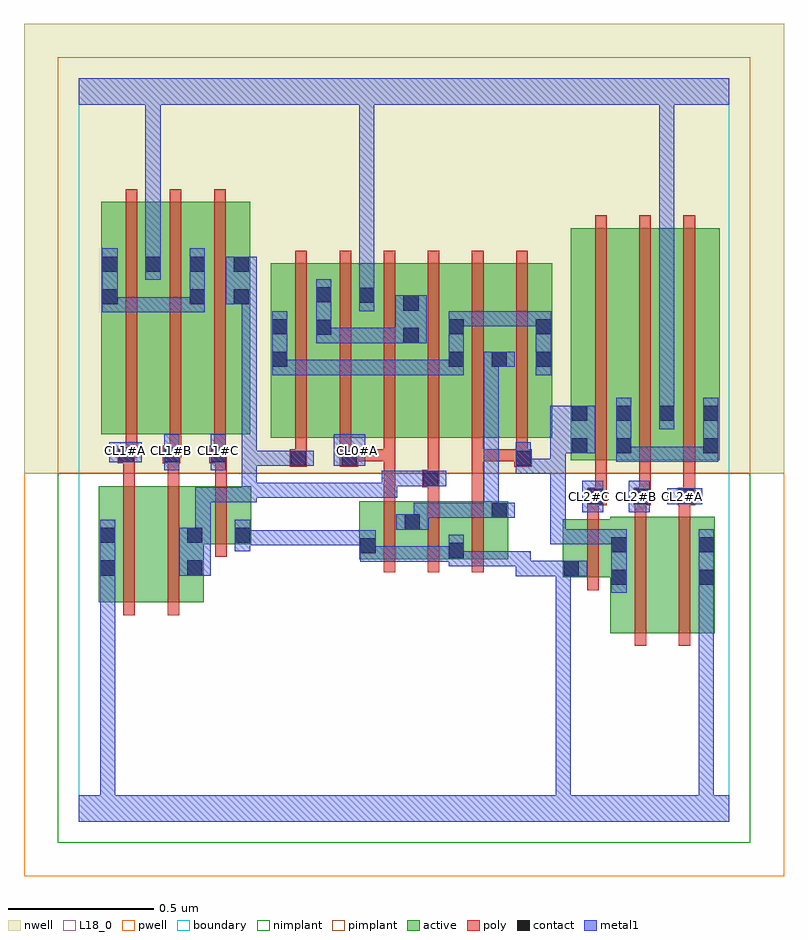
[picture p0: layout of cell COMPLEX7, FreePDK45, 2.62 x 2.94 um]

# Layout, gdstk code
import gdstk
lib = gdstk.Library(unit=1e-6, precision=1e-09)
def R(c, l, rs):  # rectangles x0, y0, x1, y1
    for r in rs: c.add(gdstk.rectangle(r[:2], r[2:], *l))
def A(c, l, x, y, w, h, nx, ny, dx, dy):  # array of equal rectangles
    R(c, l, [(x+i*dx, y+j*dy, x+i*dx+w, y+j*dy+h) for i in range(nx) for j in range(ny)])
active = (1, 0)
pwell = (2, 0)
nwell = (3, 0)
nimplant = (4, 0)
pimplant = (5, 0)
poly = (9, 0)
contact = (10, 0)
metal1 = (11, 0)
L18_0 = (18, 0)
boundary = (235, 0)

complex7 = lib.new_cell('COMPLEX7')
R(complex7, active, [(1.83,0.65,2.01,1.05), (2.01,0.65,2.19,1.05), (0.07,0.756,0.25,1.156), (0.07,0.756,0.13,1.156), (0.25,0.756,0.43,1.156), (0.37,0.756,0.43,1.156), (2.13,0.756,2.19,1.05), (1.83,0.812,1.89,1.028), (1.666,0.842,1.89,1.042), (1.666,0.842,1.726,1.042), (0.966,0.904,1.026,1.104), (0.966,0.904,1.178,1.104), (1.118,0.904,1.33,1.104), (1.27,0.904,1.478,1.104), (1.27,0.904,1.33,1.028), (0.37,0.956,0.594,1.156), (0.534,0.956,0.594,1.156), (1.118,0.956,1.178,1.062), (1.418,0.956,1.478,1.104), (1.694,1.244,1.754,2.044), (1.694,1.244,1.906,2.044), (1.846,1.244,2.054,2.044), (1.994,1.244,2.206,2.044), (2.146,1.244,2.206,2.044), (1.846,1.256,1.906,2.044), (0.662,1.322,0.722,1.844), (0.662,1.322,0.874,1.922), (0.814,1.322,1.022,1.922), (0.962,1.322,1.174,1.922), (1.114,1.322,1.33,1.922), (1.27,1.322,1.478,1.922), (1.418,1.322,1.63,1.922), (1.57,1.322,1.63,1.844), (0.078,1.334,0.138,2.134), (0.078,1.334,0.286,2.134), (0.226,1.334,0.438,2.134), (0.378,1.334,0.59,2.134), (0.53,1.334,0.59,2.134), (1.994,1.366,2.054,2.044), (1.27,1.562,1.33,1.844), (1.418,1.562,1.478,1.844), (1.114,1.644,1.174,1.844), (0.814,1.672,0.874,1.844), (0.226,1.686,0.286,2.134), (0.378,1.686,0.438,2.134), (0.962,1.782,1.022,1.844)])
R(complex7, pwell, [(-0.188,-0.188,2.428,1.2)])
R(complex7, nwell, [(-0.188,1.2,2.428,2.748)])
R(complex7, nimplant, [(-0.072,-0.072,2.312,1.2)])
R(complex7, pimplant, [(-0.072,1.2,2.312,2.632)])
A(complex7, poly, 1.05, 0.86, 0.04, 0.288, 3, 1, 0.152, 0)
A(complex7, poly, 1.778, 1.11, 0.04, 0.13, 3, 1, 0.152, 0)
A(complex7, poly, 1.778, 1.2, 0.04, 0.888, 3, 1, 0.152, 0)
A(complex7, poly, 0.746, 1.242, 0.04, 0.076, 3, 1, 0.152, 0)
A(complex7, poly, 0.162, 1.254, 0.04, 0.076, 3, 1, 0.152, 0)
A(complex7, poly, 0.746, 1.278, 0.04, 0.688, 6, 1, 0.152, 0)
A(complex7, poly, 0.162, 1.29, 0.04, 0.888, 3, 1, 0.152, 0)
R(complex7, poly, [(1.914,0.606,1.954,1.094), (2.066,0.606,2.106,1.094), (0.154,0.712,0.194,1.2), (0.306,0.712,0.346,1.2), (1.75,0.798,1.79,1.086), (0.47,0.912,0.51,1.2), (1.75,1.046,1.79,1.13), (1.914,1.054,1.954,1.13), (2.066,1.054,2.106,1.13), (1.75,1.09,1.79,1.13), (1.75,1.09,1.79,1.13), (1.75,1.09,1.818,1.15), (1.91,1.09,1.97,1.15), (1.914,1.09,1.954,1.13), (1.914,1.09,1.954,1.13), (2.062,1.09,2.122,1.15), (2.066,1.09,2.106,1.13), (2.066,1.09,2.106,1.13), (1.05,1.108,1.09,1.282), (1.202,1.108,1.242,1.192), (1.354,1.108,1.394,1.282), (1.182,1.152,1.242,1.212), (0.154,1.16,0.194,1.274), (0.306,1.16,0.346,1.274), (0.47,1.16,0.51,1.274), (1.202,1.172,1.242,1.212), (1.202,1.172,1.242,1.212), (1.202,1.172,1.242,1.318), (0.726,1.222,0.786,1.282), (0.898,1.222,0.962,1.282), (1.5,1.222,1.56,1.282), (0.134,1.234,0.194,1.294), (0.29,1.234,0.35,1.294), (0.45,1.234,0.51,1.294), (0.47,1.234,0.51,1.274), (0.47,1.234,0.51,1.274), (0.922,1.242,1.09,1.282), (1.05,1.242,1.09,1.282), (1.05,1.242,1.09,1.282), (1.05,1.242,1.09,1.282), (1.05,1.242,1.09,1.282), (1.05,1.242,1.09,1.282), (1.354,1.242,1.394,1.282), (1.354,1.242,1.394,1.282), (1.354,1.242,1.394,1.282), (1.354,1.242,1.394,1.282), (1.354,1.242,1.394,1.282), (1.354,1.242,1.394,1.318), (1.354,1.242,1.54,1.282), (1.506,1.242,1.546,1.318), (0.154,1.254,0.194,1.294), (0.154,1.254,0.202,1.294), (0.31,1.254,0.35,1.294), (0.31,1.254,0.354,1.294)])
A(complex7, contact, 0.23, 1.894, 0.052, 0.052, 3, 1, 0.152, 0)
R(complex7, contact, [(1.834,0.816,1.886,0.868), (2.134,0.816,2.186,0.868), (1.67,0.846,1.722,0.898), (0.074,0.848,0.126,0.9), (0.374,0.848,0.426,0.9), (1.274,0.908,1.326,0.96), (0.97,0.924,1.022,0.976), (1.834,0.928,1.886,0.98), (2.134,0.928,2.186,0.98), (0.074,0.96,0.126,1.012), (0.374,0.96,0.426,1.012), (0.538,0.96,0.59,1.012), (1.122,1.006,1.174,1.058), (1.422,1.046,1.474,1.098), (1.754,1.094,1.806,1.146), (1.914,1.094,1.966,1.146), (2.066,1.094,2.118,1.146), (1.186,1.156,1.238,1.208), (0.73,1.226,0.782,1.278), (0.906,1.226,0.958,1.278), (1.504,1.226,1.556,1.278), (0.138,1.238,0.19,1.29), (0.294,1.238,0.346,1.29), (0.454,1.238,0.506,1.29), (1.698,1.268,1.75,1.32), (1.85,1.268,1.902,1.32), (2.15,1.268,2.202,1.32), (1.698,1.38,1.75,1.432), (1.85,1.38,1.902,1.432), (1.998,1.38,2.05,1.432), (2.15,1.38,2.202,1.432), (0.666,1.566,0.718,1.618), (1.274,1.566,1.326,1.618), (1.422,1.566,1.474,1.618), (1.574,1.566,1.626,1.618), (1.118,1.648,1.17,1.7), (0.818,1.676,0.87,1.728), (0.666,1.678,0.718,1.73), (1.274,1.678,1.326,1.73), (1.574,1.678,1.626,1.73), (1.118,1.76,1.17,1.812), (0.082,1.782,0.134,1.834), (0.382,1.782,0.434,1.834), (0.534,1.782,0.586,1.834), (0.966,1.786,1.018,1.838), (0.818,1.788,0.87,1.84), (0.082,1.894,0.134,1.946)])
R(complex7, metal1, [(0,0,2.24,0.092), (0.074,0.04,0.126,0.092), (0.074,0.04,0.126,0.092), (0.074,0.04,0.126,0.092), (0.074,0.04,0.126,0.092), (0.074,0.04,0.126,0.092), (0.074,0.04,0.126,0.092), (0.074,0.04,0.126,0.092), (0.074,0.04,0.126,0.092), (0.074,0.04,0.126,0.092), (0.074,0.04,0.126,0.092), (0.074,0.04,0.126,0.872), (1.642,0.04,1.694,0.092), (1.642,0.04,1.694,0.092), (1.642,0.04,1.694,0.092), (1.642,0.04,1.694,0.092), (1.642,0.04,1.694,0.092), (1.642,0.04,1.694,0.092), (1.642,0.04,1.694,0.092), (1.642,0.04,1.694,0.092), (1.642,0.04,1.694,0.092), (1.642,0.04,1.694,0.092), (1.642,0.04,1.694,0.898), (2.134,0.04,2.186,0.092), (2.134,0.04,2.186,0.092), (2.134,0.04,2.186,0.092), (2.134,0.04,2.186,0.092), (2.134,0.04,2.186,0.092), (2.134,0.04,2.186,0.092), (2.134,0.04,2.186,0.092), (2.134,0.04,2.186,0.092), (2.134,0.04,2.186,0.092), (2.134,0.04,2.186,0.092), (2.134,0.04,2.186,0.092), (2.134,0.04,2.186,0.092), (2.134,0.04,2.186,0.84), (1.834,0.788,1.886,1.008), (2.134,0.788,2.186,1.008), (0.074,0.82,0.126,0.872), (0.074,0.82,0.126,0.872), (0.074,0.82,0.126,1.04), (1.504,0.846,1.556,0.898), (1.504,0.846,1.556,0.898), (1.504,0.846,1.694,0.898), (1.504,0.846,1.556,0.932), (1.642,0.846,1.694,0.898), (1.642,0.846,1.694,0.898), (1.642,0.846,1.694,0.898), (1.642,0.846,1.694,0.898), (1.642,0.846,1.694,0.898), (1.642,0.846,1.694,0.898), (1.642,0.846,1.75,0.898), (0.346,0.848,0.454,1.012), (1.274,0.88,1.326,0.932), (1.274,0.88,1.326,0.932), (1.274,0.88,1.326,0.988), (1.274,0.88,1.446,0.932), (1.394,0.88,1.446,0.932), (1.394,0.88,1.556,0.932), (0.97,0.896,1.022,0.948), (0.97,0.896,1.022,0.948), (0.97,0.896,1.022,1.004), (0.97,0.896,1.206,0.948), (1.154,0.896,1.206,0.948), (1.154,0.896,1.206,0.948), (1.154,0.896,1.206,0.948), (1.154,0.896,1.326,0.948), (0.538,0.932,0.59,1.04), (0.538,0.952,0.724,1.004), (0.672,0.952,0.724,1.004), (0.672,0.952,0.724,1.004), (0.672,0.952,0.724,1.004), (0.672,0.952,0.87,1.004), (0.818,0.952,0.87,1.004), (0.818,0.952,0.87,1.004), (0.818,0.952,0.87,1.004), (0.818,0.952,1.022,1.004), (0.97,0.952,1.022,1.004), (0.97,0.952,1.022,1.004), (1.624,0.956,1.676,1.008), (1.624,0.956,1.676,1.008), (1.624,0.956,1.676,1.008), (1.624,0.956,1.886,1.008), (1.624,0.956,1.676,1.25), (1.834,0.956,1.886,1.008), (1.834,0.956,1.886,1.008), (0.402,0.96,0.454,1.152), (1.094,1.006,1.202,1.058), (1.15,1.006,1.206,1.058), (1.154,1.006,1.206,1.098), (1.154,1.046,1.326,1.098), (1.274,1.046,1.326,1.098), (1.274,1.046,1.326,1.098), (1.274,1.046,1.326,1.098), (1.274,1.046,1.446,1.098), (1.394,1.046,1.446,1.098), (1.394,1.046,1.446,1.098), (1.394,1.046,1.446,1.098), (1.394,1.046,1.446,1.098), (1.394,1.046,1.502,1.098), (1.394,1.046,1.446,1.618), (1.734,1.066,1.806,1.174), (1.894,1.066,1.966,1.174), (2.026,1.094,2.146,1.148), (0.402,1.1,0.454,1.152), (0.402,1.1,0.608,1.152), (0.556,1.1,0.608,1.152), (0.556,1.1,0.614,1.152), (0.562,1.1,0.614,1.168), (0.562,1.116,0.76,1.168), (0.562,1.116,0.614,1.278), (0.708,1.116,0.76,1.168), (0.708,1.116,0.76,1.168), (0.708,1.116,0.76,1.168), (0.708,1.116,0.87,1.168), (0.818,1.116,0.87,1.168), (0.818,1.116,0.87,1.168), (0.818,1.116,0.87,1.168), (0.818,1.116,1.032,1.168), (0.98,1.116,1.032,1.168), (0.98,1.116,1.096,1.168), (1.044,1.116,1.096,1.208), (1.044,1.156,1.21,1.208), (1.158,1.156,1.21,1.208), (1.158,1.156,1.21,1.208), (1.158,1.156,1.266,1.208), (1.504,1.198,1.556,1.25), (1.504,1.198,1.556,1.25), (1.504,1.198,1.556,1.306), (1.504,1.198,1.676,1.25), (1.624,1.198,1.676,1.25), (1.624,1.198,1.676,1.32), (0.294,1.21,0.346,1.334), (0.454,1.21,0.506,1.334), (0.562,1.226,0.614,1.278), (0.562,1.226,0.754,1.278), (0.562,1.226,0.614,1.834), (0.702,1.226,0.754,1.278), (0.702,1.226,0.754,1.278), (0.702,1.226,0.81,1.278), (0.878,1.226,0.986,1.334), (0.106,1.238,0.218,1.306), (1.85,1.24,1.902,1.292), (1.85,1.24,1.902,1.292), (1.85,1.24,1.902,1.46), (1.85,1.24,2.012,1.292), (1.96,1.24,2.012,1.292), (1.96,1.24,2.202,1.292), (2.15,1.24,2.202,1.292), (2.15,1.24,2.202,1.292), (2.15,1.24,2.202,1.46), (1.624,1.268,1.778,1.432), (1.998,1.352,2.05,1.46), (1.998,1.408,2.05,1.46), (1.998,1.408,2.05,1.46), (1.998,1.408,2.05,2.52), (0.666,1.538,0.718,1.758), (0.666,1.538,0.724,1.59), (0.672,1.538,0.724,1.59), (0.672,1.538,0.87,1.59), (0.818,1.538,0.87,1.59), (0.818,1.538,0.87,1.59), (0.818,1.538,0.87,1.59), (0.818,1.538,0.98,1.59), (0.928,1.538,0.98,1.59), (0.928,1.538,0.98,1.59), (0.928,1.538,0.98,1.59), (0.928,1.538,1.206,1.59), (1.154,1.538,1.206,1.59), (1.154,1.538,1.206,1.59), (1.154,1.538,1.206,1.59), (1.154,1.538,1.326,1.59), (1.274,1.538,1.326,1.758), (1.574,1.538,1.626,1.758), (1.394,1.566,1.502,1.618), (0.818,1.648,0.87,1.7), (0.818,1.648,0.87,1.7), (0.818,1.648,0.87,1.868), (0.818,1.648,1.032,1.7), (0.98,1.648,1.032,1.7), (0.98,1.648,1.032,1.7), (0.98,1.648,1.032,1.7), (0.98,1.648,1.142,1.7), (1.09,1.648,1.198,1.812), (1.274,1.706,1.326,1.758), (1.274,1.706,1.326,1.758), (1.274,1.706,1.326,1.758), (1.274,1.706,1.326,1.758), (1.274,1.706,1.436,1.758), (1.384,1.706,1.436,1.758), (1.384,1.706,1.436,1.758), (1.384,1.706,1.436,1.758), (1.384,1.706,1.626,1.758), (0.082,1.754,0.134,1.806), (0.082,1.754,0.134,1.806), (0.082,1.754,0.134,1.974), (0.082,1.754,0.288,1.806), (0.236,1.754,0.288,1.806), (0.236,1.754,0.288,1.806), (0.236,1.754,0.288,1.806), (0.236,1.754,0.434,1.806), (0.382,1.754,0.434,1.974), (0.966,1.758,1.018,1.866), (0.506,1.782,0.614,1.946), (0.966,1.814,1.018,2.52), (0.23,1.866,0.282,1.974), (0.23,1.922,0.282,1.974), (0.23,1.922,0.282,1.974), (0.23,1.922,0.282,1.974), (0.23,1.922,0.282,1.974), (0.23,1.922,0.282,2.52), (0,2.468,2.24,2.56), (0.23,2.468,0.282,2.52), (0.23,2.468,0.282,2.52), (0.23,2.468,0.282,2.52), (0.23,2.468,0.282,2.52), (0.966,2.468,1.018,2.52), (0.966,2.468,1.018,2.52), (0.966,2.468,1.018,2.52), (0.966,2.468,1.018,2.52), (0.966,2.468,1.018,2.52), (0.966,2.468,1.018,2.52), (0.966,2.468,1.018,2.52), (0.966,2.468,1.018,2.52), (0.966,2.468,1.018,2.52), (0.966,2.468,1.018,2.52), (0.966,2.468,1.018,2.52), (0.966,2.468,1.018,2.52), (1.998,2.468,2.05,2.52), (1.998,2.468,2.05,2.52), (1.998,2.468,2.05,2.52), (1.998,2.468,2.05,2.52), (1.998,2.468,2.05,2.52), (1.998,2.468,2.05,2.52)])
A(complex7, L18_0, 1.734, 1.094, 0.052, 0.052, 3, 1, 0.16, 0)
A(complex7, L18_0, 0.134, 1.254, 0.052, 0.052, 3, 1, 0.16, 0)
R(complex7, L18_0, [(0,0,2.24,0.092), (0.074,0.04,0.126,0.092), (0.074,0.04,0.126,0.092), (0.074,0.04,0.126,0.092), (0.074,0.04,0.126,0.092), (0.074,0.04,0.126,0.092), (0.074,0.04,0.126,0.092), (0.074,0.04,0.126,0.092), (0.074,0.04,0.126,0.092), (0.074,0.04,0.126,0.092), (0.074,0.04,0.126,0.092), (0.074,0.04,0.126,0.872), (1.642,0.04,1.694,0.092), (1.642,0.04,1.694,0.092), (1.642,0.04,1.694,0.092), (1.642,0.04,1.694,0.092), (1.642,0.04,1.694,0.092), (1.642,0.04,1.694,0.092), (1.642,0.04,1.694,0.092), (1.642,0.04,1.694,0.092), (1.642,0.04,1.694,0.092), (1.642,0.04,1.694,0.092), (1.642,0.04,1.694,0.898), (2.134,0.04,2.186,0.092), (2.134,0.04,2.186,0.092), (2.134,0.04,2.186,0.092), (2.134,0.04,2.186,0.092), (2.134,0.04,2.186,0.092), (2.134,0.04,2.186,0.092), (2.134,0.04,2.186,0.092), (2.134,0.04,2.186,0.092), (2.134,0.04,2.186,0.092), (2.134,0.04,2.186,0.092), (2.134,0.04,2.186,0.092), (2.134,0.04,2.186,0.092), (2.134,0.04,2.186,0.84), (2.134,0.788,2.186,1.008), (0.074,0.82,0.126,0.872), (0.074,0.82,0.126,0.872), (0.074,0.82,0.126,1.04), (1.504,0.846,1.556,0.898), (1.504,0.846,1.556,0.898), (1.504,0.846,1.556,0.932), (1.504,0.846,1.694,0.898), (1.642,0.846,1.694,0.898), (1.642,0.846,1.694,0.898), (1.642,0.846,1.694,0.898), (1.642,0.846,1.694,0.898), (1.642,0.846,1.694,0.898), (1.642,0.846,1.694,0.898), (1.642,0.846,1.75,0.898), (1.274,0.88,1.326,0.932), (1.274,0.88,1.326,0.932), (1.274,0.88,1.326,0.988), (1.274,0.88,1.446,0.932), (1.394,0.88,1.446,0.932), (1.394,0.88,1.556,0.932), (0.97,0.896,1.022,0.948), (0.97,0.896,1.022,0.948), (0.97,0.896,1.022,1.004), (0.97,0.896,1.206,0.948), (1.154,0.896,1.206,0.948), (1.154,0.896,1.206,0.948), (1.154,0.896,1.206,0.948), (1.154,0.896,1.326,0.948), (0.538,0.932,0.59,1.04), (0.538,0.952,0.724,1.004), (0.672,0.952,0.724,1.004), (0.672,0.952,0.724,1.004), (0.672,0.952,0.724,1.004), (0.672,0.952,0.87,1.004), (0.818,0.952,0.87,1.004), (0.818,0.952,0.87,1.004), (0.818,0.952,0.87,1.004), (0.818,0.952,1.022,1.004), (0.97,0.952,1.022,1.004), (0.97,0.952,1.022,1.004), (1.734,1.066,1.806,1.174), (1.894,1.066,1.966,1.174), (2.026,1.094,2.146,1.148), (0.294,1.21,0.346,1.334), (0.454,1.21,0.506,1.334), (0.878,1.226,0.986,1.334), (0.106,1.238,0.218,1.306), (0.934,1.254,0.986,1.306), (1.998,1.352,2.05,1.46), (1.998,1.408,2.05,1.46), (1.998,1.408,2.05,1.46), (1.998,1.408,2.05,2.52), (0.966,1.758,1.018,1.866), (0.966,1.814,1.018,2.52), (0.23,1.866,0.282,1.974), (0.23,1.922,0.282,1.974), (0.23,1.922,0.282,1.974), (0.23,1.922,0.282,1.974), (0.23,1.922,0.282,1.974), (0.23,1.922,0.282,2.52), (0,2.468,2.24,2.56), (0.23,2.468,0.282,2.52), (0.23,2.468,0.282,2.52), (0.23,2.468,0.282,2.52), (0.23,2.468,0.282,2.52), (0.966,2.468,1.018,2.52), (0.966,2.468,1.018,2.52), (0.966,2.468,1.018,2.52), (0.966,2.468,1.018,2.52), (0.966,2.468,1.018,2.52), (0.966,2.468,1.018,2.52), (0.966,2.468,1.018,2.52), (0.966,2.468,1.018,2.52), (0.966,2.468,1.018,2.52), (0.966,2.468,1.018,2.52), (0.966,2.468,1.018,2.52), (0.966,2.468,1.018,2.52), (1.998,2.468,2.05,2.52), (1.998,2.468,2.05,2.52), (1.998,2.468,2.05,2.52), (1.998,2.468,2.05,2.52), (1.998,2.468,2.05,2.52), (1.998,2.468,2.05,2.52)])
R(complex7, boundary, [(0,0,2.24,2.56)])
complex7.add(gdstk.Label('CL0#A', (0.96,1.28), layer=11, texttype=0))
complex7.add(gdstk.Label('CL1#A', (0.16,1.28), layer=11, texttype=0))
complex7.add(gdstk.Label('CL1#B', (0.32,1.28), layer=11, texttype=0))
complex7.add(gdstk.Label('CL1#C', (0.48,1.28), layer=11, texttype=0))
complex7.add(gdstk.Label('CL2#A', (2.08,1.12), layer=11, texttype=0))
complex7.add(gdstk.Label('CL2#B', (1.92,1.12), layer=11, texttype=0))
complex7.add(gdstk.Label('CL2#C', (1.76,1.12), layer=11, texttype=0))

lib.write_gds('COMPLEX7.gds')
